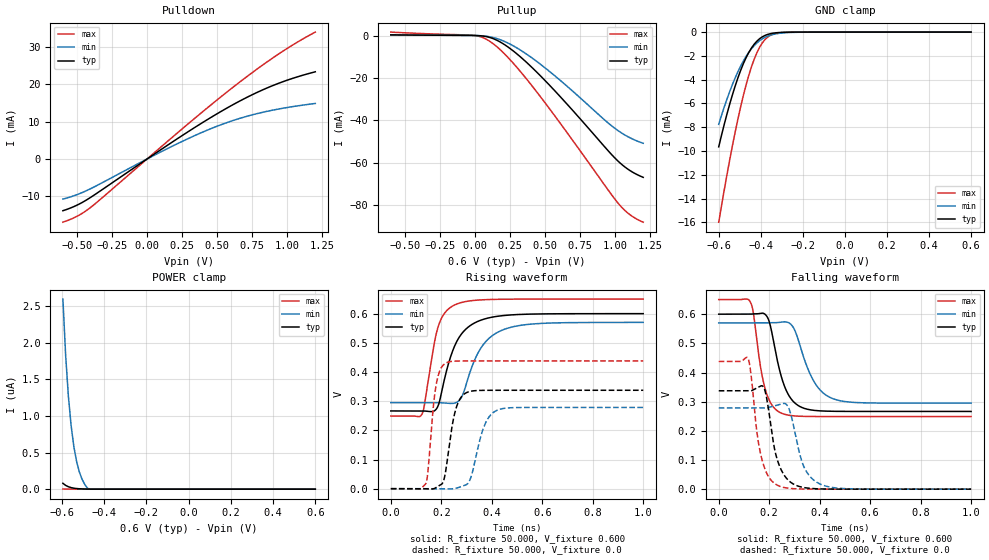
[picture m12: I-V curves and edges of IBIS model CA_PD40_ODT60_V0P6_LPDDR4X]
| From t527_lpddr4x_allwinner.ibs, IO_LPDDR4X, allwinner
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|   Model CA_PD40_ODT60_V0P6_LPDDR4X
[Model] CA_PD40_ODT60_V0P6_LPDDR4X
Model_type 3-state
Polarity   Non-Inverting
Enable   Active-Low
C_comp   1.386pF   1.339pF   1.448pF
C_comp_pulldown   0.728pF   0.698pF   0.766pF
[Temperature Range]   25.000   0.125k   -40.000
[Voltage Range]   0.600V   0.570V   0.650V
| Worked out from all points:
|   slope of the pulldown table from 0 to 0.09 V, typ, clamps not added: 39.4 ohm
|   slope of the pullup table from 0 to 0.09 V, typ, clamps not added: 138 ohm
|   GND clamp passes 1 mA (typ) near -0.43 V on its own axis
|   rising waveform, R_fixture 50.000, V_fixture 0.600: 20-80 % time 81ps typ, 92.5ps min, 52.7ps max; typ from 0.266 V to 0.6 V
|   rising waveform, R_fixture 50.000, V_fixture 0.0: 20-80 % time 37.9ps typ, 51.1ps min, 28.4ps max; typ from 0 V to 0.337 V
|   falling waveform, R_fixture 50.000, V_fixture 0.600: 20-80 % time 59.2ps typ, 78.1ps min, 46.4ps max; typ from 0.6 V to 0.266 V
|   falling waveform, R_fixture 50.000, V_fixture 0.0: 20-80 % time 48.9ps typ, 55.7ps min, 42.4ps max; typ from 0.337 V to 0 V
[Pulldown]
|Voltage   I(typ)   I(min)   I(max)
-600mV    -13.86mA   -10.75mA   -16.94mA
-486mV    -12.12mA   -9.358mA   -15.08mA
-391mV    -10.01mA   -7.747mA   -12.64mA
179mV     4.516mA    3.415mA    5.784mA
369mV     9.132mA    6.759mA    11.81mA
521mV     12.6mA     9.094mA    16.49mA
692mV     16.14mA    11.23mA    21.52mA
863mV     19.16mA    12.84mA    26.21mA
1.034V    21.56mA    14.02mA    30.45mA
1.2V      23.38mA    14.89mA    34.02mA
[Pullup]
|Voltage   I(typ)   I(min)   I(max)
-600mV    307.6uA    240.7uA    1.617mA
3mV       -5.669uA   -5.189uA   -28uA
60mV      -277.8uA   -203.6uA   -1.082mA
136mV     -1.634mA   -1.049mA   -4.186mA
193mV     -3.566mA   -2.301mA   -7.507mA
269mV     -7.071mA   -4.717mA   -12.78mA
440mV     -17.26mA   -12.22mA   -26.59mA
630mV     -30.47mA   -22.42mA   -43.44mA
934mV     -53.26mA   -40.42mA   -71.52mA
1.029V    -59.87mA   -45.33mA   -79.87mA
1.105V    -63.78mA   -48.3mA    -84.65mA
1.2V      -67.02mA   -50.92mA   -88.2mA
[GND_clamp]
|Voltage   I(typ)   I(min)   I(max)
-600mV    -9.644mA   -7.752mA   -15.98mA
-561mV    -6.898mA   -5.638mA   -12mA
-535mV    -5.279mA   -4.412mA   -9.563mA
-496mV    -3.229mA   -2.867mA   -6.297mA
-470mV    -2.153mA   -2.045mA   -4.442mA
-444mV    -1.329mA   -1.392mA   -2.9mA
-418mV    -752.5uA   -901.8uA   -1.711mA
-392mV    -391.1uA   -557uA     -889.9uA
-366mV    -189.2uA   -330uA     -401.7uA
-327mV    -58.41uA   -142.5uA   -97.15uA
-275mV    -11.42uA   -44.79uA   -11.99uA
600mV     -16.35nA   -581.7nA   -535.2pA
[POWER_clamp]
|Voltage   I(typ)   I(min)   I(max)
-596mV    80.24nA    2.593uA    2.718nA
-583mV    51.63nA    1.826uA    1.847nA
-570mV    33.07nA    1.268uA    1.343nA
-557mV    21.08nA    866.5nA    1.05nA
-544mV    13.38nA    579.1nA    877.6pA
-531mV    8.477nA    375.9nA    774.8pA
-518mV    5.384nA    233.6nA    709.6pA
-505mV    3.415nA    134.1nA    663.1pA
-492mV    2.097nA    63.17nA    625.9pA
-479mV    1.133nA    10.39nA    594.1pA
-466mV    364.7pA    0A         566pA
600mV     0A         0A         0A
[Ramp]
| variable   typ   min   max
dV/dt_r   0.202/38.079p   0.167/51.206p   0.263/28.562p
dV/dt_f   0.200/59.216p   0.165/78.118p   0.241/46.575p
R_load = 50.000
[Rising Waveform]
R_fixture= 50.000
V_fixture= 0.600
V_fixture_min= 0.570
V_fixture_max= 0.650
|time   V(typ)   V(min)   V(max)
0s        266.5mV    295mV      249mV
123ps     266.6mV    295mV      254.7mV
186ps     281.4mV    295mV      550.6mV
213ps     377mV      293.3mV    601.7mV
254ps     491.4mV    293.7mV    630.3mV
282ps     532.5mV    316.2mV    638.7mV
355ps     577.1mV    479.6mV    647.1mV
437ps     592.6mV    541.9mV    649.3mV
585ps     599mV      566mV      650mV
1ns       600mV      570mV      650mV
[Rising Waveform]
R_fixture= 50.000
V_fixture= 0.0
V_fixture_min= 0.0
V_fixture_max= 0.0
|time   V(typ)   V(min)   V(max)
0s        1.964uV    49.8uV     134.7nV
139ps     -199.7uV   57.15uV    18.3mV
179ps     3.628mV    121uV      352.5mV
207ps     22.23mV    -261.2uV   423mV
219ps     69mV       -620.9uV   431mV
257ps     271.1mV    1.152mV    437.3mV
304ps     330.7mV    16.58mV    437.9mV
371ps     337.2mV    216.6mV    437.9mV
422ps     337.3mV    269.2mV    437.9mV
1ns       337.3mV    278.4mV    437.9mV
[Falling Waveform]
R_fixture= 50.000
V_fixture= 0.600
V_fixture_min= 0.570
V_fixture_max= 0.650
|time   V(typ)   V(min)   V(max)
0s        600mV      570mV      650mV
125ps     599.8mV    570mV      642.2mV
136ps     600.9mV    570mV      610.6mV
184ps     599.4mV    569.8mV    343.7mV
204ps     562.4mV    570.7mV    298.3mV
247ps     388.8mV    572.7mV    261.1mV
310ps     289.5mV    525.6mV    250.5mV
376ps     270.4mV    371.1mV    249.1mV
449ps     267.1mV    311.4mV    249mV
1ns       266.5mV    295mV      249mV
[Falling Waveform]
R_fixture= 50.000
V_fixture= 0.0
V_fixture_min= 0.0
V_fixture_max= 0.0
|time   V(typ)   V(min)   V(max)
0s        337.3mV    278.4mV    437.9mV
117ps     337.4mV    278.4mV    446.3mV
151ps     346.9mV    278.5mV    196.8mV
168ps     354.3mV    278.5mV    113mV
188ps     320.6mV    278.2mV    58.55mV
233ps     98.15mV    288.2mV    13.22mV
273ps     32.9mV     285.5mV    3.52mV
335ps     5.92mV     81.94mV    452.3uV
403ps     899.8uV    17.03mV    47.76uV
1ns       1.969uV    49.82uV    137.1nV
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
